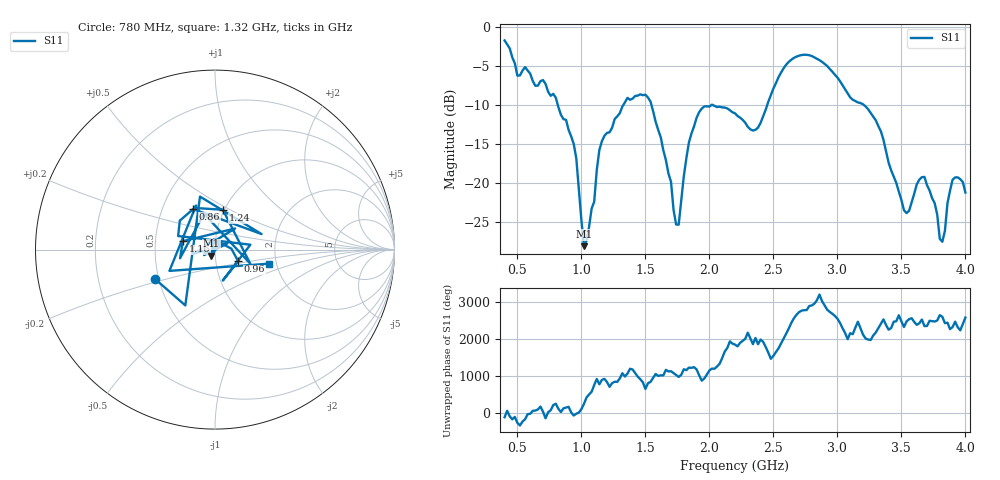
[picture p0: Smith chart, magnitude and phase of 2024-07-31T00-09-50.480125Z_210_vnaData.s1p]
!Created with skrf (http://scikit-rf.org).
# Hz S RI R 50.0
!freq ReS11 ImS11
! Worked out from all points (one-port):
!   181 points, 400 MHz to 4 GHz, reference 50 ohm
!   lowest |S11| = -28.1 dB at 1.02 GHz (marker M1), VSWR 1.08, Z = 47.9 - j3.24 ohm
!   |S11| at or under -10 dB: 815.7 MHz to 1.327 GHz (511.5 MHz wide, 47.7 % of centre); 1.547 GHz to 2.016 GHz (468.9 MHz wide, 26.3 % of centre); 3.207 GHz to end of sweep (the widest 3 of 4)
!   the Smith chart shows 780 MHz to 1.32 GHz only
!   S11 on the Smith chart (normalised r, x): 780 MHz: 0.48, -0.18; 860 MHz: 0.71, +0.34; 960 MHz: 1.28, -0.17; 1.16 GHz: 0.69, +0.07; 1.24 GHz: 0.99, +0.46; 1.32 GHz: 1.82, -0.32
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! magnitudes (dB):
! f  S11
! 400 MHz  -1.7
! 500 MHz  -6.2
! 560 MHz  -5.1
! 780 MHz  -8.6
! 860 MHz  -11.8
! 960 MHz  -16.8
! 1.02 GHz  -28.1
! 1.1 GHz  -22.4
! 1.16 GHz  -14.7
! 1.24 GHz  -12.9
! 1.3 GHz  -11.1
! 1.32 GHz  -10.2
! 1.54 GHz  -9.6
! 1.76 GHz  -25.4
! 1.84 GHz  -14.8
! 1.92 GHz  -10.9
! 2.2 GHz  -11.1
! 2.38 GHz  -12.9
! 2.66 GHz  -3.9
! 2.88 GHz  -4.4
! 3.1 GHz  -9.0
! 3.3 GHz  -12.0
! 3.52 GHz  -23.5
! 3.56 GHz  -23.6
! 3.68 GHz  -19.2
! 3.82 GHz  -27.6
! 3.9 GHz  -19.6
! 4 GHz  -21.2
